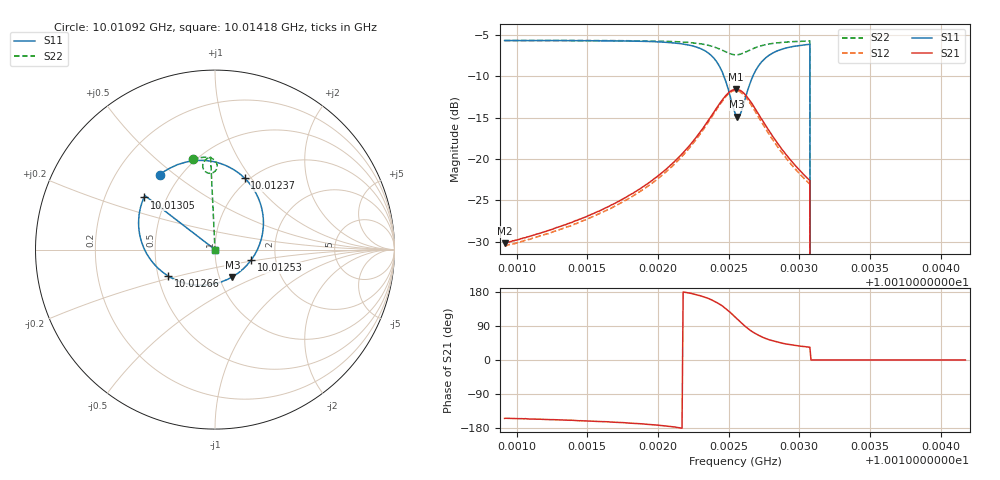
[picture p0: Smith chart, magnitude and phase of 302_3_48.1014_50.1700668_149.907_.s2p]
#  HZ  S  RI  R  50.00
! Rohde & Schwarz Vector Network Analyzer
! Rohde-Schwarz,ZNB20-2Port,1311601062101988,3.16
! Created: UTC 12/23/2023, 4:04:51 AM
! freq[Hz]  re:S11  im:S11  re:S21  im:S21  re:S12  im:S12  re:S22  im:S22
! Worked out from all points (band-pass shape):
!   401 points, 10.01092 GHz to 10.01418 GHz, reference 50 ohm
!   highest |S21| = -11.57 dB at 10.01255 GHz (marker M1); lowest = -30.2 dB at 10.01092 GHz (marker M2)
!   |S21| within 3 dB of the highest: 10.01239 GHz to 10.01271 GHz (324.6 kHz wide, 0.00324 % of centre)
!   lowest |S11| = -14.9 dB at 10.01256 GHz (marker M3), VSWR 1.44, Z = 57.7 - j18.1 ohm
!   |S11| at or under -10 dB: 10.01247 GHz to 10.01267 GHz (204.7 kHz wide, 0.00204 % of centre); 10.01308 GHz to end of sweep
!   |S22| runs from - to -5.7 dB; largest |S21 - S12| = 0.013
!   S11 on the Smith chart (normalised r, x): 10.01092 GHz: 0.39, +0.44; 10.01237 GHz: 0.96, +0.93; 10.01253 GHz: 1.50, -0.18; 10.01266 GHz: 0.57, -0.18; 10.01305 GHz: 0.37, +0.29; 10.01418 GHz: 1.00, +0.00
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1.0010915e10  -0.3084 0.4176  -0.0278 -0.0135  -0.0258 -0.0148  -0.1242 0.5048
1.0011462e10  -0.2498 0.4547  -0.0412 -0.0146  -0.0389 -0.0164  -0.0858 0.5127
1.0012008e10  -0.1232 0.4947  -0.0792 -0.0107  -0.0757 -0.0147  -0.0387 0.5137
1.0012236e10  0.0169 0.4839  -0.1238 0.00935  -0.1203 0.00233  -0.0107 0.5043
1.0012366e10  0.1662 0.3969  -0.1661 0.0574  -0.1652 0.0463  0.00812 0.484
1.0012415e10  0.2291 0.3127  -0.179 0.0953  -0.1807 0.0832  0.0121 0.4695
1.0012464e10  0.2689 0.1754  -0.1789 0.1485  -0.1832 0.1375  0.0093 0.4504
1.0012529e10  0.2026 -0.0568  -0.129 0.2271  -0.1358 0.2188  -0.0131 0.4278
1.0012546e10  0.1549 -0.1095  -0.1059 0.2416  -0.1126 0.2339  -0.0221 0.4255
1.0012554e10  0.1284 -0.1312  -0.0944 0.2466  -0.1006 0.2394  -0.0264 0.4253
1.0012562e10  0.0969 -0.1518  -0.081 0.2509  -0.0875 0.2437  -0.031 0.4251
1.0012611e10  -0.0969 -0.1984  -0.00498 0.2484  -0.011 0.2416  -0.0549 0.4355
1.001266e10  -0.2595 -0.1478  0.0505 0.2138  0.0424 0.2081  -0.0665 0.4542
1.0012717e10  -0.3673 -0.0442  0.0795 0.1661  0.0721 0.1612  -0.0675 0.4745
1.0012782e10  -0.4157 0.0655  0.0879 0.1217  0.0797 0.119  -0.0611 0.4907
1.0012904e10  -0.4215 0.2026  0.0789 0.0721  0.072 0.0721  -0.0447 0.5066
1.0013051e10  -0.3955 0.2905  0.0638 0.0442  0.0587 0.0448  -0.0273 0.5149
1.0013059e10  -0.3941 0.294  0.063 0.043  0.058 0.0437  -0.0265 0.5151
1.0013092e10  0 0  0 0  0 0  0 0
1.00131e10  0 0  0 0  0 0  0 0
1.0013638e10  0 0  0 0  0 0  0 0
1.0014176e10  0 0  0 0  0 0  0 0
